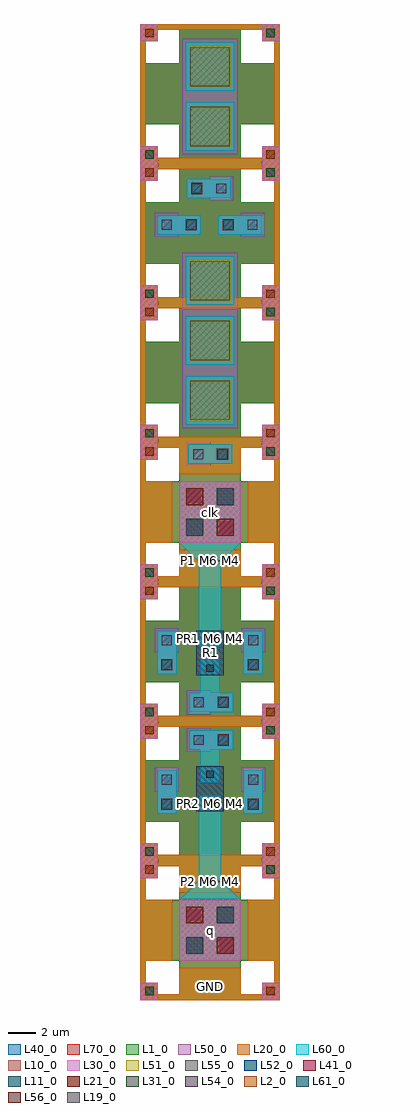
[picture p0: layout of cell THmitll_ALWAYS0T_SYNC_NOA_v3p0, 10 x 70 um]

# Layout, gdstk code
from math import pi, radians
import gdstk
lib = gdstk.Library(unit=1e-6, precision=1e-09)
def R(c, l, rs):  # rectangles x0, y0, x1, y1
    for r in rs: c.add(gdstk.rectangle(r[:2], r[2:], *l))
def P(c, l, *ps):  # polygons
    for p in ps: c.add(gdstk.Polygon(p, *l))
L1_0 = (1, 0)
L2_0 = (2, 0)
L10_0 = (10, 0)
L11_0 = (11, 0)
L19_0 = (19, 0)
L20_0 = (20, 0)
L21_0 = (21, 0)
L30_0 = (30, 0)
L31_0 = (31, 0)
L40_0 = (40, 0)
L41_0 = (41, 0)
L50_0 = (50, 0)
L51_0 = (51, 0)
L52_0 = (52, 0)
L54_0 = (54, 0)
L55_0 = (55, 0)
L56_0 = (56, 0)
L60_0 = (60, 0)
L61_0 = (61, 0)
L70_0 = (70, 0)

ls_tr_m7 = lib.new_cell('ls_tr_M7')
P(ls_tr_m7, L70_0, [(0,0),(0,10),(1.25,10),(1.25,8.75),(0.4,8.75),(0.4,1.25),(1.25,1.25),(1.25,0.4),(2.8,0.4),(2.8,2.8),(0.4,2.8),(0.4,7.2),(2.8,7.2),(2.8,9.6),(1.25,9.6),(1.25,10),(7.2,10),(7.2,0.4),(8.75,0.4),(8.75,1.25),(9.6,1.25),(9.6,2.8),(7.2,2.8),(7.2,7.2),(9.6,7.2),(9.6,8.75),(8.75,8.75),(8.75,9.6),(7.2,9.6),(7.2,10),(10,10),(10,0)])

ls_tr_u_m4 = lib.new_cell('ls_tr_u_M4')
P(ls_tr_u_m4, L1_0, [(0,0),(0,10),(1.25,10),(1.25,8.75),(0.4,8.75),(0.4,1.25),(1.25,1.25),(1.25,0.4),(2.8,0.4),(2.8,2.8),(0.4,2.8),(0.4,7.2),(2.8,7.2),(2.8,9.6),(1.25,9.6),(1.25,10),(7.2,10),(7.2,0.4),(8.75,0.4),(8.75,1.25),(9.6,1.25),(9.6,2.8),(7.2,2.8),(7.2,7.2),(9.6,7.2),(9.6,8.75),(8.75,8.75),(8.75,9.6),(7.2,9.6),(7.2,10),(10,10),(10,0)])
R(ls_tr_u_m4, L2_0, [(9.05,0.35,9.65,0.95), (0.35,9.05,0.95,9.65)])
R(ls_tr_u_m4, L10_0, [(0,0,1.25,1.25), (8.75,0,10,1.25), (0,8.75,1.25,10), (8.75,8.75,10,10)])
R(ls_tr_u_m4, L11_0, [(0.35,0.35,0.95,0.95), (9.05,9.05,9.65,9.65)])
P(ls_tr_u_m4, L20_0, [(0,0),(0,10),(1.25,10),(1.25,8.75),(0.4,8.75),(0.4,1.25),(1.25,1.25),(1.25,0.4),(8.75,0.4),(8.75,1.25),(9.6,1.25),(9.6,8.75),(8.75,8.75),(8.75,9.6),(1.25,9.6),(1.25,10),(10,10),(10,0)])
R(ls_tr_u_m4, L21_0, [(9.05,0.35,9.65,0.95), (0.35,9.05,0.95,9.65)])
R(ls_tr_u_m4, L30_0, [(0,0,1.25,1.25), (8.75,0,10,1.25), (0,8.75,1.25,10), (8.75,8.75,10,10)])
R(ls_tr_u_m4, L31_0, [(0.35,0.35,0.95,0.95), (9.05,9.05,9.65,9.65)])
P(ls_tr_u_m4, L40_0, [(0,0),(0,10),(1.25,10),(1.25,8.75),(0.4,8.75),(0.4,1.25),(1.25,1.25),(1.25,0.4),(2.8,0.4),(2.8,2.8),(0.4,2.8),(0.4,7.2),(2.8,7.2),(2.8,9.6),(1.25,9.6),(1.25,10),(7.2,10),(7.2,0.4),(8.75,0.4),(8.75,1.25),(9.6,1.25),(9.6,2.8),(7.2,2.8),(7.2,7.2),(9.6,7.2),(9.6,8.75),(8.75,8.75),(8.75,9.6),(7.2,9.6),(7.2,10),(10,10),(10,0)])
ls_tr_u_m4.add(gdstk.Reference(ls_tr_m7, (0,0)))

ls_tr_ptlconnection = lib.new_cell('ls_tr_PTLconnection')
P(ls_tr_ptlconnection, L1_0, [(0,0),(0,10),(1.25,10),(1.25,8.75),(0.4,8.75),(0.4,1.25),(1.25,1.25),(1.25,0.4),(2.8,0.4),(2.8,2.8),(0.4,2.8),(0.4,7.2),(2.8,7.2),(2.8,9.6),(1.25,9.6),(1.25,10),(7.2,10),(7.2,0.4),(8.75,0.4),(8.75,1.25),(9.6,1.25),(9.6,2.8),(7.2,2.8),(7.2,7.2),(9.6,7.2),(9.6,8.75),(8.75,8.75),(8.75,9.6),(7.2,9.6),(7.2,10),(10,10),(10,0)])
R(ls_tr_ptlconnection, L2_0, [(9.05,0.35,9.65,0.95), (0.35,9.05,0.95,9.65)])
R(ls_tr_ptlconnection, L10_0, [(0,0,1.25,1.25), (8.75,0,10,1.25), (2.8,2.8,7.2,7.2), (0,8.75,1.25,10), (8.75,8.75,10,10)])
R(ls_tr_ptlconnection, L11_0, [(0.35,0.35,0.95,0.95), (3.3,3.3,4.5,4.5), (5.5,5.5,6.7,6.7), (9.05,9.05,9.65,9.65)])
R(ls_tr_ptlconnection, L20_0, [(2.8,2.8,7.2,7.2)])
P(ls_tr_ptlconnection, L20_0, [(0,0),(0,10),(7.2,10),(7.2,7.7),(2.8,7.7),(2.8,9.6),(1.25,9.6),(1.25,8.75),(0.4,8.75),(0.4,7.2),(2.3,7.2),(2.3,2.8),(0.4,2.8),(0.4,1.25),(1.25,1.25),(1.25,0.4),(2.8,0.4),(2.8,2.3),(7.2,2.3),(7.2,0.4),(8.75,0.4),(8.75,1.25),(9.6,1.25),(9.6,2.8),(7.7,2.8),(7.7,7.2),(9.6,7.2),(9.6,8.75),(8.75,8.75),(8.75,9.6),(7.2,9.6),(7.2,10),(10,10),(10,0)])
R(ls_tr_ptlconnection, L21_0, [(9.05,0.35,9.65,0.95), (5.5,3.3,6.7,4.5), (3.3,5.5,4.5,6.7), (0.35,9.05,0.95,9.65)])
R(ls_tr_ptlconnection, L30_0, [(0,0,1.25,1.25), (8.75,0,10,1.25), (2.8,2.8,7.2,7.2), (0,8.75,1.25,10), (8.75,8.75,10,10)])
R(ls_tr_ptlconnection, L31_0, [(0.35,0.35,0.95,0.95), (3.3,3.3,4.5,4.5), (5.5,5.5,6.7,6.7), (9.05,9.05,9.65,9.65)])
R(ls_tr_ptlconnection, L40_0, [(2.8,2.8,7.2,7.2)])
P(ls_tr_ptlconnection, L40_0, [(0,0),(0,10),(7.2,10),(7.2,7.7),(2.8,7.7),(2.8,9.6),(1.25,9.6),(1.25,8.75),(0.4,8.75),(0.4,7.2),(2.3,7.2),(2.3,2.8),(0.4,2.8),(0.4,1.25),(1.25,1.25),(1.25,0.4),(2.8,0.4),(2.8,2.3),(7.2,2.3),(7.2,0.4),(8.75,0.4),(8.75,1.25),(9.6,1.25),(9.6,2.8),(7.7,2.8),(7.7,7.2),(9.6,7.2),(9.6,8.75),(8.75,8.75),(8.75,9.6),(7.2,9.6),(7.2,10),(10,10),(10,0)])
R(ls_tr_ptlconnection, L41_0, [(5.5,3.3,6.7,4.5), (3.3,5.5,4.5,6.7)])
R(ls_tr_ptlconnection, L50_0, [(2.8,2.8,7.2,7.2)])
R(ls_tr_ptlconnection, L54_0, [(3.3,3.3,4.5,4.5), (5.5,5.5,6.7,6.7)])
R(ls_tr_ptlconnection, L60_0, [(2.8,2.8,7.2,7.2)])
P(ls_tr_ptlconnection, L70_0, [(0,0),(0,10),(1.25,10),(1.25,8.75),(0.4,8.75),(0.4,1.25),(1.25,1.25),(1.25,0.4),(2.8,0.4),(2.8,2.8),(0.4,2.8),(0.4,7.2),(2.8,7.2),(2.8,9.6),(1.25,9.6),(1.25,10),(7.2,10),(7.2,0.4),(8.75,0.4),(8.75,1.25),(9.6,1.25),(9.6,2.8),(7.2,2.8),(7.2,7.2),(9.6,7.2),(9.6,8.75),(8.75,8.75),(8.75,9.6),(7.2,9.6),(7.2,10),(10,10),(10,0)])

ls_conn_m4m5m6m7 = lib.new_cell('ls_conn_M4M5M6M7')
R(ls_conn_m4m5m6m7, L40_0, [(0,0,1.4,1.4)])
R(ls_conn_m4m5m6m7, L41_0, [(0.3,0.3,1.1,1.1)])
P(ls_conn_m4m5m6m7, L50_0, [(1.6,-0.15),(1.6,0),(0,0),(0,1.4),(1.6,1.4),(1.6,1.55),(3.3,1.55),(3.3,-0.15)])
R(ls_conn_m4m5m6m7, L54_0, [(2.1,0.35,2.8,1.05)])
R(ls_conn_m4m5m6m7, L60_0, [(0,0,3.15,1.4)])
R(ls_conn_m4m5m6m7, L61_0, [(0.35,0.35,1.05,1.05)])
R(ls_conn_m4m5m6m7, L70_0, [(0,0,1.4,1.4)])

ls_res_2 = lib.new_cell('ls_res_2')
R(ls_res_2, L52_0, [(-1,0,1,3.225)])
R(ls_res_2, L56_0, [(-0.26,0.29,0.26,0.81), (-0.26,2.44,0.26,2.96)])
R(ls_res_2, L60_0, [(-0.625,-0.1,0.625,1.175), (-0.625,2.075,0.625,3.325)])

ls_fakejj_3umx3um = lib.new_cell('ls_FakeJJ_3umx3um')
R(ls_fakejj_3umx3um, L40_0, [(-2,-2,2,2)])
R(ls_fakejj_3umx3um, L50_0, [(-2,-2,2,2)])
R(ls_fakejj_3umx3um, L51_0, [(-1.5,-1.5,1.5,1.5)])
R(ls_fakejj_3umx3um, L55_0, [(-1.4,-1.4,1.4,1.4)])
R(ls_fakejj_3umx3um, L60_0, [(-1.75,-1.75,1.75,1.75)])

thmitll_always0t_sync_no = lib.new_cell('THmitll_ALWAYS0T_SYNC_NOA_v3p0')
R(thmitll_always0t_sync_no, L19_0, [(4.75,13.8,5.25,14.35), (4.75,25.7,5.25,26.2)])
R(thmitll_always0t_sync_no, L50_0, [(3,41,7,53.6), (3,60.65,7,68.95)])
P(thmitll_always0t_sync_no, L60_0, [(5,30.6),(2.8,32.8),(7.2,32.8)],
  [(2.8,7.2),(5,9.4),(7.2,7.2)])
thmitll_always0t_sync_no.add(gdstk.FlexPath([(5,15.55),(5,18.25)], 1.4, ends="flush", simple_path=True, layer=60, datatype=0))  # L60_0
thmitll_always0t_sync_no.add(gdstk.FlexPath([(5,14.7),(5,7.2)], 1.6, ends="flush", simple_path=True, layer=60, datatype=0))  # L60_0
thmitll_always0t_sync_no.add(gdstk.FlexPath([(5,24.45),(5,21.75)], 1.4, ends="flush", simple_path=True, layer=60, datatype=0))  # L60_0
thmitll_always0t_sync_no.add(gdstk.FlexPath([(5,25.3),(5,32.8)], 1.6, ends="flush", simple_path=True, layer=60, datatype=0))  # L60_0
thmitll_always0t_sync_no.add(gdstk.FlexPath([(4.2,8.5),(5.8,8.5)], 0.1, ends="flush", simple_path=True, layer=19, datatype=0))  # L19_0
thmitll_always0t_sync_no.add(gdstk.FlexPath([(4.2,31.5),(5.8,31.5)], 0.1, ends="flush", simple_path=True, layer=19, datatype=0))  # L19_0
r = gdstk.Reference(ls_tr_u_m4, (0,40)); r.repetition = gdstk.Repetition(1, 3, v1=(0,0), v2=(0,10)); thmitll_always0t_sync_no.add(r)
thmitll_always0t_sync_no.add(gdstk.Reference(ls_tr_u_m4, (0,20)))
thmitll_always0t_sync_no.add(gdstk.Reference(ls_tr_u_m4, (0,10)))
thmitll_always0t_sync_no.add(gdstk.Reference(ls_tr_ptlconnection, (10,10), rotation=pi))
thmitll_always0t_sync_no.add(gdstk.Reference(ls_tr_ptlconnection, (10,40), rotation=pi))
thmitll_always0t_sync_no.add(gdstk.Reference(ls_conn_m4m5m6m7, (6.65,22.05), rotation=pi))
thmitll_always0t_sync_no.add(gdstk.Reference(ls_conn_m4m5m6m7, (6.65,19.35), rotation=pi))
thmitll_always0t_sync_no.add(gdstk.Reference(ls_res_2, (5,16.75), rotation=pi))
thmitll_always0t_sync_no.add(gdstk.Reference(ls_res_2, (5,26.5), rotation=pi))
thmitll_always0t_sync_no.add(gdstk.Reference(ls_conn_m4m5m6m7, (2.6,23.35), rotation=pi/2))
thmitll_always0t_sync_no.add(gdstk.Reference(ls_conn_m4m5m6m7, (8.8,23.35), rotation=pi/2))
thmitll_always0t_sync_no.add(gdstk.Reference(ls_conn_m4m5m6m7, (2.6,13.35), rotation=pi/2))
thmitll_always0t_sync_no.add(gdstk.Reference(ls_conn_m4m5m6m7, (8.8,13.35), rotation=pi/2))
thmitll_always0t_sync_no.add(gdstk.Reference(ls_conn_m4m5m6m7, (6.6,39.85), rotation=pi))
r = gdstk.Reference(ls_fakejj_3umx3um, (5,51.6), rotation=pi); r.repetition = gdstk.Repetition(1, 3, v1=(0,0), v2=(0,-4.3)); thmitll_always0t_sync_no.add(r)
thmitll_always0t_sync_no.add(gdstk.Reference(ls_conn_m4m5m6m7, (4.35,56.3), rotation=pi))
thmitll_always0t_sync_no.add(gdstk.Reference(ls_conn_m4m5m6m7, (5.6,54.9)))
thmitll_always0t_sync_no.add(gdstk.Reference(ls_conn_m4m5m6m7, (3.35,57.5)))
r = gdstk.Reference(ls_fakejj_3umx3um, (5,62.65)); r.repetition = gdstk.Repetition(1, 2, v1=(0,0), v2=(0,4.3)); thmitll_always0t_sync_no.add(r)
thmitll_always0t_sync_no.add(gdstk.Label('GND', (5,1), layer=40, texttype=0))
thmitll_always0t_sync_no.add(gdstk.Label('P2 M6 M4', (5,8.5), layer=182, texttype=0))
thmitll_always0t_sync_no.add(gdstk.Label('PR2 M6 M4', (5,14.1), layer=182, texttype=0))
thmitll_always0t_sync_no.add(gdstk.Label('PR1 M6 M4', (5,25.95), layer=182, texttype=0))
thmitll_always0t_sync_no.add(gdstk.Label('P1 M6 M4', (5,31.5), layer=182, texttype=0))
thmitll_always0t_sync_no.add(gdstk.Label('R1', (5,24.9), layer=52, texttype=11))
thmitll_always0t_sync_no.add(gdstk.Label('R2', (5,15.1), layer=52, texttype=11))
thmitll_always0t_sync_no.add(gdstk.Label('clk', (5,35), layer=60, texttype=5))
thmitll_always0t_sync_no.add(gdstk.Label('q', (5,5), layer=60, texttype=5))

lib.write_gds('THmitll_ALWAYS0T_SYNC_NOA_v3p0.gds')
